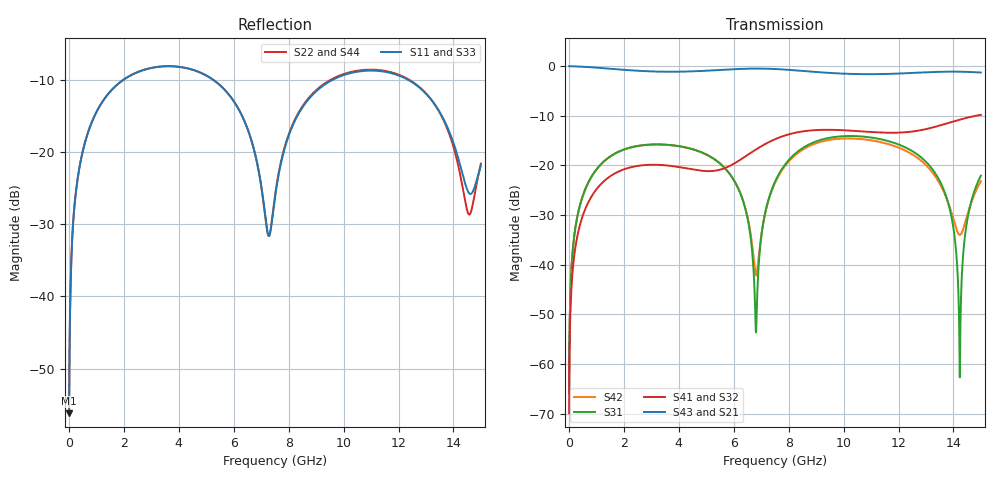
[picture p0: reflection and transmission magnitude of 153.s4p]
! Created with skrf 1.8.0 (http://scikit-rf.org).
# GHz S RI R 50.0
!freq ReS11 ImS11 ReS12 ImS12 ReS13 ImS13
! ReS14 ImS14
! ReS21 ImS21 ReS22 ImS22 ReS23 ImS23
! ReS24 ImS24
! ReS31 ImS31 ReS32 ImS32 ReS33 ImS33
! ReS34 ImS34
! ReS41 ImS41 ReS42 ImS42 ReS43 ImS43
! ReS44 ImS44
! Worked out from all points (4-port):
!   2499 points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, 5 MHz to 15 GHz, reference 50 ohm
!   strongest paths, dB at 5 MHz, 3.476 GHz, 7.19 GHz, 11.1 GHz, 15 GHz:
!     S43: 0.0, -1.1, -0.5, -1.6, -1.3
!     S21: 0.0, -1.1, -0.5, -1.6, -1.3
!     S41: -70.0, -20.0, -15.6, -13.3, -9.8
!     S32: -70.0, -20.0, -15.6, -13.3, -9.8
!     S31: -65.9, -15.8, -28.4, -14.5, -22.1
!     S42: -65.9, -15.8, -28.6, -15.0, -23.2
!   lowest |S11| = -56.2 dB at 5 MHz (marker M1), VSWR 1.00, Z = 50.1 + j0.094 ohm
!   |S11| at or under -10 dB: start of sweep to 1.992 GHz; 5.243 GHz to 9.613 GHz (4.37 GHz wide, 58.8 % of centre); 12.34 GHz to end of sweep
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0.005  0.00124 0.000937  0.9987 -0.00241  6.14e-05 0.000503  -5.96e-05 -0.000312
       0.9987 -0.00241  0.00124 0.000937  -5.96e-05 -0.000312  6.14e-05 0.000503
       6.14e-05 0.000503  -5.96e-05 -0.000312  0.00124 0.000937  0.9987 -0.00241
       -5.96e-05 -0.000312  6.14e-05 0.000503  0.9987 -0.00241  0.00124 0.000937
0.4126719  0.0227 0.0809  0.9686 -0.197  0.011 0.0394  -0.00908 -0.0242
           0.9686 -0.197  0.0227 0.0809  -0.00908 -0.0242  0.011 0.0394
           0.011 0.0394  -0.00908 -0.0242  0.0227 0.0809  0.9686 -0.1969
           -0.00908 -0.0242  0.011 0.0394  0.9686 -0.1969  0.0227 0.0809
2.025844  0.2632 0.181  0.5619 -0.7235  0.13 0.065  -0.0914 -0.00803
          0.5619 -0.7235  0.2636 0.1806  -0.0914 -0.00801  0.1292 0.0659
          0.13 0.065  -0.0914 -0.00801  0.2631 0.1809  0.562 -0.7235
          -0.0914 -0.00803  0.1292 0.0659  0.562 -0.7235  0.2635 0.1805
7.278033  0.0261 -0.0018  -0.9384 -0.0614  0.0096 0.0455  -0.00626 0.1714
          -0.9384 -0.0614  0.0262 -0.000445  -0.006 0.1714  0.00141 0.0456
          0.0096 0.0455  -0.006 0.1714  0.0266 0.00137  -0.9385 -0.0608
          -0.00626 0.1714  0.00141 0.0456  -0.9385 -0.0608  0.0253 0.00268
12.47395  0.2672 -0.1475  0.3904 0.7587  0.0722 -0.1208  0.1693 -0.1386
          0.3904 0.7587  0.2637 -0.1603  0.1691 -0.139  0.0735 -0.1078
          0.0722 -0.1208  0.1691 -0.139  0.2698 -0.1478  0.3873 0.7594
          0.1693 -0.1386  0.0735 -0.1078  0.3873 0.7594  0.2665 -0.1602
14.23093  0.0598 -0.0574  0.8351 0.2743  0.000663 -0.000313  0.0831 -0.2767
          0.8351 0.2743  0.045 -0.0559  0.0824 -0.2769  -0.0198 0.00234
          0.000663 -0.000313  0.0824 -0.2769  0.0614 -0.0587  0.8336 0.2786
          0.0831 -0.2767  -0.0198 0.00234  0.8336 0.2786  0.0454 -0.0575
15  0.0624 0.0508  0.861 -0.0291  0.0561 0.0554  -0.0242 -0.3221
    0.861 -0.0291  0.0514 0.0651  -0.025 -0.322  0.0181 0.0668
    0.0561 0.0554  -0.025 -0.322  0.063 0.0497  0.8614 -0.0242
    -0.0242 -0.3221  0.0181 0.0668  0.8614 -0.0242  0.0502 0.0642
